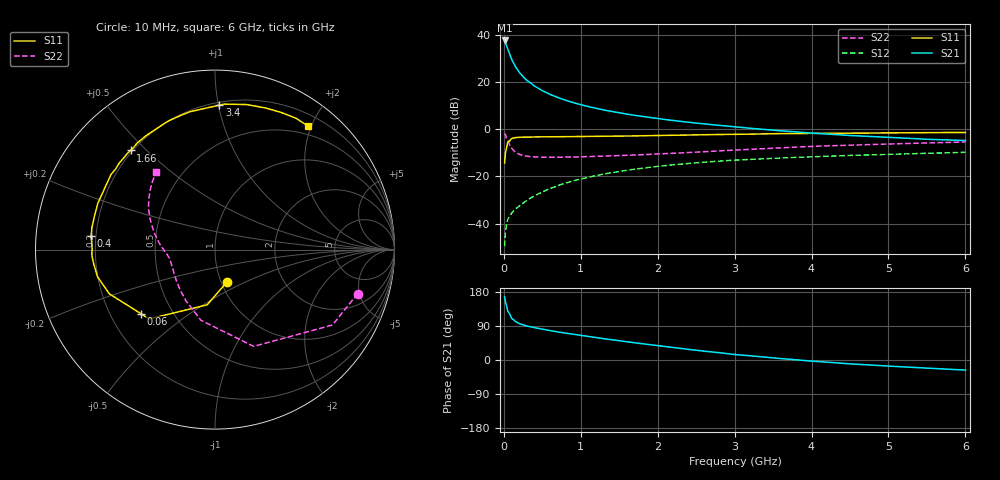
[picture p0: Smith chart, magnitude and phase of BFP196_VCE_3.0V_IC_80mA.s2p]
! Infineon Technologies  Discrete & RF Semiconductors
! BFP196
! VCE = 3.0 V,  IC =  80mA
! Common Emitter S-Parameters:  Jan 2016
# GHz  S  MA  R  50
!  f  S11  S21  S12  S22
! GHz  MAG  ANG  MAG  ANG  MAG  ANG  MAG  ANG
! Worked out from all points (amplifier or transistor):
!   210 points, 10 MHz to 6 GHz, reference 50 ohm
!   highest |S21| = 37.8 dB at 10 MHz (marker M1)
!   |S21| within 3 dB of that: start of sweep to 42.87 MHz
!   unconditionally stable (mu >= 1): 359.1 MHz to 4.869 GHz
!   at 185 MHz: K = 0.82, MSG = 29.0 dB, |S12| = -33.0 dB
!   at 1.52 GHz: K = 1.08, MAG = 10.6 dB, |S12| = -17.8 dB
!   at 6 GHz: K = 0.98, MSG = 2.5 dB, |S12| = -9.7 dB
!   S11 on the Smith chart (normalised r, x): 10 MHz: 1.06, -0.40; 60 MHz: 0.33, -0.34; 400 MHz: 0.18, +0.05; 1.66 GHz: 0.19, +0.45; 3.4 GHz: 0.22, +1.01; 6 GHz: 0.37, +1.96
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0.01  0.1938 -70.5  77.76 166.6  0.0033 75.8  0.832 -17.1
0.02  0.3109 -98.1  71.29 153.7  0.0064 68.0  0.7777 -32.7
0.05  0.5324 -133.5  51.4 128.8  0.0122 55.4  0.5808 -68.2
0.06  0.5452 -138.9  47 126.4  0.0131 54.3  0.5336 -72.9
0.1  0.6383 -157.3  30.84 110.0  0.0165 51.2  0.4011 -101.3
0.15  0.6716 -167.0  21.5 101.2  0.0201 54.1  0.3284 -119.5
0.2  0.6797 -172.9  16.4 96.0  0.0235 57.6  0.2961 -131.2
0.26  0.6864 -177.8  12.7 91.8  0.0279 60.5  0.2766 -140.9
0.3  0.6848 179.5  10.99 89.5  0.0311 62.4  0.2692 -145.5
0.4  0.6939 173.8  8.317 85.1  0.0389 64.8  0.2598 -153.7
0.5  0.6967 169.7  6.649 81.3  0.0468 65.6  0.2563 -158.9
0.6  0.697 165.4  5.547 77.5  0.0554 66.0  0.2557 -162.5
0.8  0.702 158.3  4.178 70.9  0.0721 64.7  0.2579 -167.3
1.02  0.7044 150.3  3.291 64.3  0.0901 62.8  0.2619 -171.1
1.3  0.7128 141.0  2.589 56.2  0.1129 59.2  0.2701 -175.1
1.66  0.7254 130.4  2.036 46.5  0.1397 53.9  0.2844 -179.5
2.02  0.7423 120.5  1.682 37.5  0.165 48.4  0.3017 176.0
3.1  0.7889 94.1  1.096 12.9  0.2266 32.0  0.3698 160.4
3.4  0.8051 88.3  0.993 7.4  0.2395 27.7  0.3916 156.1
4.1  0.8281 76.2  0.817 -4.3  0.2657 19.0  0.4412 147.1
5.1  0.8498 63.1  0.668 -17.1  0.2988 7.8  0.4949 136.5
6  0.8616 52.8  0.581 -26.6  0.3263 -2.3  0.5412 127.3
